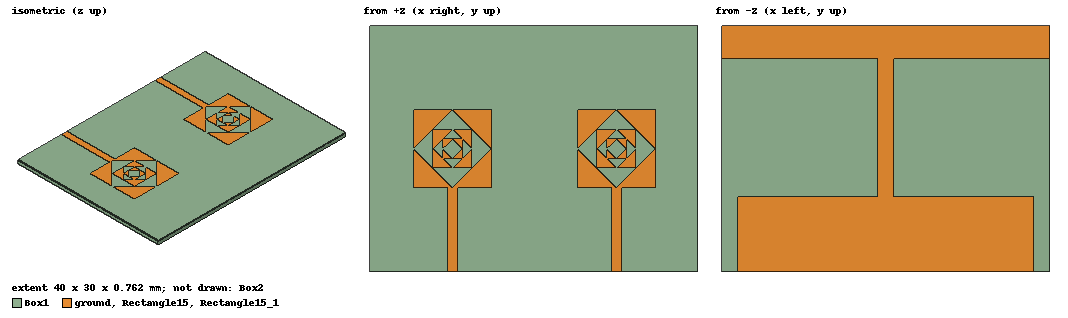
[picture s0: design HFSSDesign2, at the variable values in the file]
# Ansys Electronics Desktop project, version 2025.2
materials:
  vacuum: permittivity=1
  FR4_epoxy: permittivity=4.4 dielectric_loss_tangent=0.02
  air: permittivity=1.0006 permeability=1.0000004

design HFSSDesign2 (HFSS, HFSS Terminal Network, model units mm)
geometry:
  Box1 [FR4_epoxy] = box(corner=(0mm, 0mm, 0mm), size=(40mm, 30mm, 0.762mm))
  Rectangle15 = rectangle(corner=(-4.75mm, -4.75mm, 0.762mm), x_size=9.5mm, y_size=9.5mm)
  Rectangle16 = rectangle(corner=(-0.6mm, 4.1mm, 0.762mm), x_size=1.2mm, y_size=10.9mm)
  Rectangle15.unite(Rectangle16)
  Polyline6 = polyline(z=0.762mm, xy in mm: (4.75, 0) (0, -4.75) (-4.75, 0) (0, 4.75) (4.75, 0), closed, covered)
  Rectangle15.subtract(Polyline6)
  Rectangle17 = rectangle(corner=(2.375mm, -2.375mm, 0.762mm), x_size=-4.75mm, y_size=4.75mm)
  Polyline7 = polyline(z=0.762mm, xy in mm: (2.375, 0) (0, -2.375) (-2.375, 0) (0, 2.375) (2.375, 0), closed, covered)
  Rectangle17.subtract(Polyline7)
  Rectangle15.unite(Rectangle17)
  coordinate_system RelativeCS15 = origin=(0mm, 0mm, 0mm) x=(1mm, 0mm, 0mm) y=(0mm, 1mm, 0mm)
  Rectangle18 = rectangle(corner=(-1.1875mm, -1.1875mm, 0.762mm), x_size=2.3875mm, y_size=2.3875mm) in RelativeCS15
  Polyline8 = polyline(z=0.762mm, xy in mm: (1.2, 0) (0, -1.1875) (-1.1875, 0) (0, 1.2) (1.2, 0), closed, covered) in RelativeCS15
  Rectangle18.subtract(Polyline8)
  Rectangle15.unite(Rectangle18)
  Rectangle15.rotate(axis=Z, angle=180deg)
  Rectangle15.move(11.4mm, 15mm, 0mm)
  Rectangle15.move(-1.3mm, 0mm, 0mm)
  Rectangle15_1 = Rectangle15.duplicate_along_line(step=(20mm, 0mm, 0mm), total=2)
  coordinate_system RelativeCS3 = origin=(12mm, 0mm, 0mm) x=(1mm, 0mm, 0mm) y=(0mm, 1mm, 0mm)
  coordinate_system RelativeCS17 = origin=(8mm, 0mm, 0mm) x=(1mm, 0mm, 0mm) y=(0mm, 1mm, 0mm)
  Rectangle22 = rectangle(corner=(9.5mm, 0mm, 0.762mm), z_size=-0.762mm, x_size=1.2mm)
  Rectangle23 = rectangle(corner=(29.5mm, 0mm, 0.762mm), z_size=-0.762mm, x_size=1.2mm)
  Box2 [air] = box(corner=(-20mm, -20mm, -15mm), size=(80mm, 70mm, 30.768mm))
  ground = rectangle(corner=(0mm, 0mm, 0mm), x_size=40mm, y_size=9.1mm)
  Rectangle24 = rectangle(corner=(21mm, 8.5mm, 0mm), x_size=-2mm, y_size=18.5mm)
  ground.unite(Rectangle24)
  Circle1 = circle(normal=Z, centre=(0mm, 8.75mm, 0mm), radius=2mm)
  Circle2 = circle(normal=Z, centre=(40mm, 8.75mm, 0mm), radius=2mm)
  ground.subtract(Circle1, Circle2)
  Circle3 = circle(normal=Z, centre=(40mm, 0mm, 0mm), radius=2mm)
  Circle4 = circle(normal=Z, centre=(0mm, 0mm, 0mm), radius=2mm)
  ground.subtract(Circle3, Circle4)
  Rectangle27 = rectangle(corner=(0mm, 30mm, 0mm), x_size=40mm, y_size=-4mm)
  ground.unite(Rectangle27)
  Rectangle29 = rectangle(corner=(2mm, 8.75mm, 0mm), x_size=-2mm, y_size=-8.75mm)
  Rectangle30 = rectangle(corner=(38mm, 8.75mm, 0mm), x_size=2mm, y_size=-8.75mm)
  ground.subtract(Rectangle29, Rectangle30)
  coordinate_system RelativeCS18 = origin=(64mm, 6mm, 0mm) x=(1mm, 0mm, 0mm) y=(0mm, 1mm, 0mm)
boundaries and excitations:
  PerfE1: Perfect E Objects=Rectangle15
  PerfE2: Perfect E Objects=Rectangle15_1
  Rad1: Radiation Objects=Box2
  PerfE3: Perfect E Objects=ground
  1: Lumped Port Objects=Rectangle22 LumpedPortType=Modal Modes{Mode1{IntLine{(10.1, 0, 0) -> (10.1, 0, 0.762)} CharImp=Zpi}} Impedance=50ohm
  2: Lumped Port Objects=Rectangle23 LumpedPortType=Modal Modes{Mode1{IntLine{(30.1, 0, 0) -> (30.1, 0, 0.762)} CharImp=Zpi}} Impedance=50ohm
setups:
  Setup1: HfssDriven MultipleAdaptiveFreqsSetup{Low=2GHz High=20GHz} MaxDeltaS=0.02 MaximumPasses=6 MinimumPasses=1 MinimumConvergedPasses=1 PercentRefinement=30 BasisOrder=1 PortAccuracy=2 DrivenSolverType="Direct Solver"
    sweep Sweep: 2GHz to 15GHz step 0.045GHz; Type=Fast SaveFields
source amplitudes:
  1:1: 1V 0deg
  2:1: 0V 0deg
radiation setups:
  Infinite Sphere1: Infinite Sphere Theta=0deg..180deg step 10deg Phi=0deg..360deg step 10deg
  Infinite Sphere3: Infinite Sphere Theta=0deg..360deg step 3deg Phi=0deg..90deg step 90deg
  Infinite Sphere4: Infinite Sphere Theta=-180deg..180deg step 2deg Phi=0deg..90deg step 90deg
  3d : Infinite Sphere Theta=-180deg..180deg step 2deg Phi=0deg..360deg step 2deg
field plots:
  Mag_Jsurf1: Jsurf over Rectangle15.face(all 8) on Setup1 : LastAdaptive at Freq=11GHz Phase=0deg
  Mag_Jsurf2: Jsurf over Rectangle15_1.face(all 8) on Setup1 : LastAdaptive at Freq=11GHz Phase=0deg
  Mag_Jsurf3: Jsurf over Rectangle15_1.face(all 8) on Setup1 : Sweep at Freq=2GHz Phase=5deg
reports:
  S Parameter Plot2: dB(S(1,1)) vs Freq on Setup1 : Sweep
  Terminal S Parameter Plot1: dB(St(1,1)), dB(St(2,1)), dB(St(1,2)), dB(St(2,2)) vs Freq on Setup1 : Sweep
  Gain Plot1: dB(GainTotal) vs Phi, Theta on Setup1 : Sweep, Infinite Sphere1 [Freq=11GHz]
  Directivity Plot1: dB(DirTotal) vs Phi, Theta on Setup1 : Sweep, Infinite Sphere1 [Freq=11GHz]
  S Parameter Plot3: dB(S(1,1)), dB(S(2,1)), dB(S(1,2)), dB(S(2,2)) vs Freq on Setup1 : Sweep
  S Parameter Plot4: dB(S(1,1)), dB(S(2,1)), dB(S(1,2)), dB(S(2,2)) vs Freq on Setup1 : Sweep
  S Parameter Plot5: dB(S(1,1)), dB(S(2,2)) vs Freq on Setup1 : Sweep
  S Parameter Plot6: dB(S(1,1)), dB(S(2,2)) vs Freq on Setup1 : Sweep
  all s parameter: dB(S(1,1)), dB(S(2,2)) vs Freq on Setup1 : Sweep; markers m1 at 4.52GHz, m2 at 10.325GHz
  VSWR Plot1: VSWR(1) vs Freq on Setup1 : Sweep
  VSWR Plot2: VSWR(1), VSWR(2) vs Freq on Setup1 : Sweep
  Directivity Plot2: DirTotal vs Phi, Theta on Setup1 : LastAdaptive, Infinite Sphere1 [Freq=11GHz]
  Gain Plot4: GainTotal vs Phi, Theta on Setup1 : LastAdaptive, Infinite Sphere1 [Freq=11GHz]
  Gain Plot5: dB(GainTotal) vs Phi, Theta on Setup1 : LastAdaptive, Infinite Sphere1 [Freq=11GHz]
  Directivity Plot3: dB(DirTotal) vs Phi, Theta on Setup1 : LastAdaptive, Infinite Sphere1 [Freq=11GHz]
  Gain Plot6: dB(GainTotal) vs Phi, Theta on Setup1 : LastAdaptive, Infinite Sphere1 [Freq=11GHz]
  Gain Plot7: dB(GainTotal) vs Phi, Theta on Setup1 : LastAdaptive, Infinite Sphere1 [Freq=11GHz]
  Directivity Plot4: dB(DirTotal) vs Phi, Theta on Setup1 : LastAdaptive, Infinite Sphere1 [Freq=11GHz]
  S Parameter Plot7: dB(S(1,1)), dB(S(2,2)) vs Freq on Setup1 : Sweep
  e & h plane: dB(GainTotal) vs Theta on Setup1 : LastAdaptive, Infinite Sphere3 [Phi=0deg,90deg Freq=11GHz]
  2d radiation: dB(GainPhi), dB(GainTheta) vs Theta on Setup1 : Sweep, Infinite Sphere4 [Phi=0deg,90deg Freq=4.7GHz]
  3d radiation: dB(GainTotal) vs Phi, Theta on Setup1 : Sweep, 3d  [Freq=4.7GHz]
  Gain Plot8: dB10normalize(GainPhi), dB10normalize(GainTheta) vs Theta on Setup1 : Sweep, Infinite Sphere1 [Phi=0deg,90deg Freq=4.7GHz]
  Gain Plot9: dB10normalize(GainPhi), dB10normalize(GainTheta) vs Phi, Theta on Setup1 : Sweep, 3d  [Freq=4.7GHz]
  Gain Plot10: dB10normalize(GainPhi), dB10normalize(GainTheta) vs Theta on Setup1 : Sweep, Infinite Sphere1 [Phi=0deg,90deg Freq=4.7GHz]
  co polarization: dB10normalize(GainPhi), dB10normalize(GainTheta) vs Theta on Setup1 : Sweep, Infinite Sphere4 [Phi=0deg,90deg Freq=4.7GHz]
  Gain Plot11: dB(GainTotal) vs Freq on Setup1 : Sweep, 3d  [Phi=0deg Theta=0deg]
  S Parameter Plot8: dB(S(1,1)), dB(S(2,2)) vs Freq on Setup1 : Sweep; markers m1 at 4.52GHz, m2 at 10.37GHz
  VSWR Plot3: VSWR(1), VSWR(2) vs Freq on Setup1 : Sweep
  Gain Plot12: dB(GainTotal) vs Theta on Setup1 : Sweep, 3d  [Phi=90deg Freq=4.52GHz]
  Gain FINAL: dB(GainTotal) vs Phi, Theta on Setup1 : Sweep, 3d  [Freq=11GHz]
  Directivity FINAL: dB(DirTotal) vs Phi, Theta on Setup1 : Sweep, 3d  [Freq=11GHz]
  S Parameter Plot9: dB(S(1,1)), dB(S(2,1)), dB(S(1,2)), dB(S(2,2)) vs Freq on Setup1 : Sweep
  S Parameter Plot10: dB(S(1,1)) vs Freq on Setup1 : Sweep
  S Parameter Plot11: dB(S(2,1)) vs Freq on Setup1 : Sweep
  S Parameter Plot12: dB(S(1,2)) vs Freq on Setup1 : Sweep
  VSWR Plot4: VSWR(1) vs Freq on Setup1 : Sweep
  VSWR Plot5: VSWR(2) vs Freq on Setup1 : Sweep
  VSWR Plot6: VSWR(1), VSWR(2) vs Freq on Setup1 : Sweep
  Gain Plot13: dB(GainTotal) vs Phi, Theta on Setup1 : Sweep, Infinite Sphere1 [Freq=11GHz]
  Directivity Plot5: dB(DirTotal) vs Phi, Theta on Setup1 : Sweep, Infinite Sphere1 [Freq=11GHz]
  Gain Plot14: dB(GainTotal) vs Freq on Setup1 : Sweep, Infinite Sphere1 [Phi=all Theta=all]
